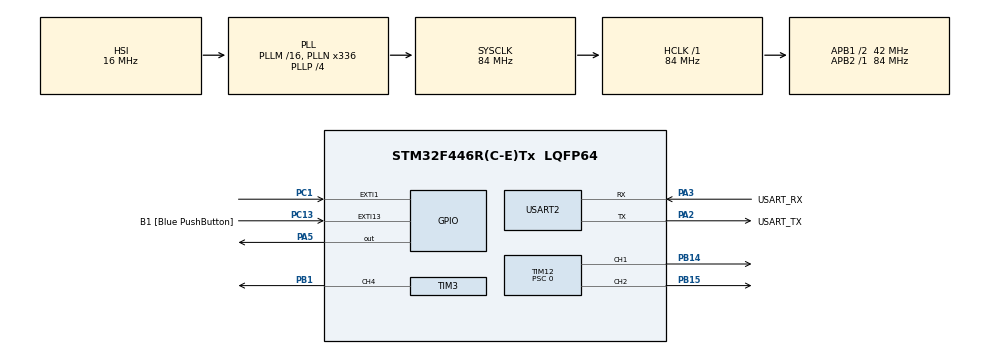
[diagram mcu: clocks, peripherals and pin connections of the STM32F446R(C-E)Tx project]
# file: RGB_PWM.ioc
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Mcu.Family=STM32F4
Mcu.Name=STM32F446R(C-E)Tx
Mcu.Package=LQFP64
NVIC.EXTI1_IRQn=true\:0\:0\:false\:false\:true\:true\:true\:true
NVIC.PriorityGroup=NVIC_PRIORITYGROUP_0
PA13.GPIO_Label=TMS
PA13.Mode=Serial_Wire
PA13.Signal=SYS_JTMS-SWDIO
PA14.GPIO_Label=TCK
PA14.Mode=Serial_Wire
PA14.Signal=SYS_JTCK-SWCLK
PA2.GPIO_Label=USART_TX
PA2.Mode=Asynchronous
PA2.Signal=USART2_TX
PA3.GPIO_Label=USART_RX
PA3.Mode=Asynchronous
PA3.Signal=USART2_RX
PA5.Signal=GPIO_Output
PB1.Signal=S_TIM3_CH4
PB14.Signal=S_TIM12_CH1
PB15.Signal=S_TIM12_CH2
PB3.GPIO_Label=SWO
PB3.Signal=SYS_JTDO-SWO
PC1.GPIO_ModeDefaultEXTI=GPIO_MODE_IT_FALLING
PC1.GPIO_PuPd=GPIO_PULLUP
PC1.Signal=GPXTI1
PC13.GPIO_Label=B1 [Blue PushButton]
PC13.GPIO_ModeDefaultEXTI=GPIO_MODE_IT_FALLING
PC13.GPIO_PuPd=GPIO_PULLUP
PC13.Signal=GPXTI13
PC14-OSC32_IN.Mode=LSE-External-Oscillator
PC14-OSC32_IN.Signal=RCC_OSC32_IN
PC15-OSC32_OUT.Mode=LSE-External-Oscillator
PC15-OSC32_OUT.Signal=RCC_OSC32_OUT
PH0-OSC_IN.Mode=HSE-External-Oscillator
PH0-OSC_IN.Signal=RCC_OSC_IN
PH1-OSC_OUT.Mode=HSE-External-Oscillator
PH1-OSC_OUT.Signal=RCC_OSC_OUT
ProjectManager.HeapSize=0x200
ProjectManager.StackSize=0x400
ProjectManager.TargetToolchain=STM32CubeIDE
RCC.48MHZClocksFreq_Value=84000000
RCC.AHBFreq_Value=84000000
RCC.APB1CLKDivider=RCC_HCLK_DIV2
RCC.APB1Freq_Value=42000000
RCC.APB1TimFreq_Value=84000000
RCC.APB2Freq_Value=84000000
RCC.APB2TimFreq_Value=84000000
RCC.CortexFreq_Value=84000000
RCC.FLatency-AdvancedSettings=FLASH_LATENCY_2
RCC.HCLKFreq_Value=84000000
RCC.HSE_VALUE=8000000
RCC.HSI_VALUE=16000000
RCC.PLLN=336
RCC.PLLP=RCC_PLLP_DIV4
RCC.SYSCLKFreq_VALUE=84000000
RCC.SYSCLKSource=RCC_SYSCLKSOURCE_PLLCLK
RCC.USBFreq_Value=168000000
RCC.VCOOutputFreq_Value=336000000
SH.S_TIM12_CH1.0=TIM12_CH1,PWM Generation1 CH1
SH.S_TIM12_CH2.0=TIM12_CH2,PWM Generation2 CH2
SH.S_TIM3_CH4.0=TIM3_CH4,PWM Generation4 CH4
TIM12.AutoReloadPreload=TIM_AUTORELOAD_PRELOAD_ENABLE
TIM12.Channel-PWM\ Generation1\ CH1=TIM_CHANNEL_1
TIM12.Channel-PWM\ Generation2\ CH2=TIM_CHANNEL_2
TIM12.Period=65535
TIM12.Prescaler=0
TIM12.Pulse-PWM\ Generation1\ CH1=0
TIM12.Pulse-PWM\ Generation2\ CH2=0
TIM2.AutoReloadPreload=TIM_AUTORELOAD_PRELOAD_ENABLE
TIM2.Period=65535
TIM2.Prescaler=0
TIM3.AutoReloadPreload=TIM_AUTORELOAD_PRELOAD_ENABLE
TIM3.Channel-PWM\ Generation4\ CH4=TIM_CHANNEL_4
TIM3.Period=65535
TIM3.Prescaler=0
TIM3.Pulse-PWM\ Generation4\ CH4=0
USART2.VirtualMode=VM_ASYNC
VP_TIM12_VS_ClockSourceINT.Mode=Internal
VP_TIM2_VS_ClockSourceINT.Mode=Internal
VP_TIM3_VS_ClockSourceINT.Mode=Internal
board=NUCLEO-F446RE

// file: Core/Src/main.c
/* USER CODE BEGIN Header */
/**
  ******************************************************************************
  * @file           : main.c
  * @brief          : Main program body
  ******************************************************************************
  * @attention
  *
  * Copyright (c) 2022 STMicroelectronics.
  * All rights reserved.
  *
  * This software is licensed under terms that can be found in the LICENSE file
  * in the root directory of this software component.
  * If no LICENSE file comes with this software, it is provided AS-IS.
  *
  ******************************************************************************
  */
/* USER CODE END Header */
#include "main.h"

TIM_HandleTypeDef htim2;
TIM_HandleTypeDef htim3;
TIM_HandleTypeDef htim12;

UART_HandleTypeDef huart2;

void SystemClock_Config(void);
static void MX_GPIO_Init(void);
static void MX_USART2_UART_Init(void);
static void MX_TIM3_Init(void);
static void MX_TIM12_Init(void);
static void MX_TIM2_Init(void);

int main(void)
{

  /* MCU Configuration--------------------------------------------------------*/

  /* Reset of all peripherals, Initializes the Flash interface and the Systick. */
  HAL_Init();

  /* Configure the system clock */
  SystemClock_Config();

  /* Initialize all configured peripherals */
  MX_GPIO_Init();
  MX_USART2_UART_Init();
  MX_TIM3_Init();
  MX_TIM12_Init();
  MX_TIM2_Init();
  /* USER CODE BEGIN 2 */
  HAL_TIM_PWM_Start(&htim3, TIM_CHANNEL_4);  //B
  HAL_TIM_PWM_Start(&htim12, TIM_CHANNEL_1); //R
  HAL_TIM_PWM_Start(&htim12, TIM_CHANNEL_2); //G
  HAL_TIM_PWM_Start(&htim2, TIM_CHANNEL_1);

  HAL_GPIO_WritePin(GPIOA, GPIO_PIN_5, 1);
//  TIM12->CCR1 = 500;
//  TIM12->CCR2 = 500;
//  TIM3->CCR4 = 500;
  /* USER CODE END 2 */

  /* Infinite loop */
  while (1)
  {

    /* USER CODE BEGIN 3 */
	  int32_t CH1_DC = 0;
	  int32_t R = 0;
	  int32_t G = 0;
	  int32_t B = 0;
//      while(CH1_DC < 65535)
//      {
//          TIM2->CCR1 = CH1_DC;
//          TIM12->CCR1 = R;
//          TIM12->CCR2 = G;
//          TIM3->CCR4 = B;
//          HAL_Delay(1);
//          CH1_DC += 70;
//      }
//      while(CH1_DC > 0)
//      {
//          TIM2->CCR1 = CH1_DC;
//          TIM12->CCR1 = R;
//          TIM12->CCR2 = G;
//          TIM3->CCR4 = B;
//          HAL_Delay(1);
//          CH1_DC -= 70;
//      }
	  int step = 10000;
	  for(B = 0; B < 65535;  B = B + 1000){
		  for(G = 0; G < 65535;  G = G + step){
			  for(R = 0; R < 65535;  R = R + step){
					//TIM2->CCR1 = CH1_DC;
					TIM12->CCR1 = R;
					TIM12->CCR2 = G;
					TIM3->CCR4 = B;
					HAL_Delay(1);
			  }
		  }
	  }
	  //HAL_GPIO_TogglePin(GPIOA, GPIO_PIN_5);
	  //HAL_Delay(100);
  }
  /* USER CODE END 3 */
}

void SystemClock_Config(void)
{
  RCC_OscInitTypeDef RCC_OscInitStruct = {0};
  RCC_ClkInitTypeDef RCC_ClkInitStruct = {0};

  /** Configure the main internal regulator output voltage
  */
  __HAL_RCC_PWR_CLK_ENABLE();
  __HAL_PWR_VOLTAGESCALING_CONFIG(PWR_REGULATOR_VOLTAGE_SCALE3);

  /** Initializes the RCC Oscillators according to the specified parameters
  * in the RCC_OscInitTypeDef structure.
  */
  RCC_OscInitStruct.OscillatorType = RCC_OSCILLATORTYPE_HSI;
  RCC_OscInitStruct.HSIState = RCC_HSI_ON;
  RCC_OscInitStruct.HSICalibrationValue = RCC_HSICALIBRATION_DEFAULT;
  RCC_OscInitStruct.PLL.PLLState = RCC_PLL_ON;
  RCC_OscInitStruct.PLL.PLLSource = RCC_PLLSOURCE_HSI;
  RCC_OscInitStruct.PLL.PLLM = 16;
  RCC_OscInitStruct.PLL.PLLN = 336;
  RCC_OscInitStruct.PLL.PLLP = RCC_PLLP_DIV4;
  RCC_OscInitStruct.PLL.PLLQ = 2;
  RCC_OscInitStruct.PLL.PLLR = 2;
  if (HAL_RCC_OscConfig(&RCC_OscInitStruct) != HAL_OK)
  {
    Error_Handler();
  }

  /** Initializes the CPU, AHB and APB buses clocks
  */
  RCC_ClkInitStruct.ClockType = RCC_CLOCKTYPE_HCLK|RCC_CLOCKTYPE_SYSCLK
                              |RCC_CLOCKTYPE_PCLK1|RCC_CLOCKTYPE_PCLK2;
  RCC_ClkInitStruct.SYSCLKSource = RCC_SYSCLKSOURCE_PLLCLK;
  RCC_ClkInitStruct.AHBCLKDivider = RCC_SYSCLK_DIV1;
  RCC_ClkInitStruct.APB1CLKDivider = RCC_HCLK_DIV2;
  RCC_ClkInitStruct.APB2CLKDivider = RCC_HCLK_DIV1;

  if (HAL_RCC_ClockConfig(&RCC_ClkInitStruct, FLASH_LATENCY_2) != HAL_OK)
  {
    Error_Handler();
  }
}

static void MX_TIM2_Init(void)
{

  TIM_ClockConfigTypeDef sClockSourceConfig = {0};
  TIM_MasterConfigTypeDef sMasterConfig = {0};

  htim2.Instance = TIM2;
  htim2.Init.Prescaler = 0;
  htim2.Init.CounterMode = TIM_COUNTERMODE_UP;
  htim2.Init.Period = 65535;
  htim2.Init.ClockDivision = TIM_CLOCKDIVISION_DIV1;
  htim2.Init.AutoReloadPreload = TIM_AUTORELOAD_PRELOAD_ENABLE;
  if (HAL_TIM_Base_Init(&htim2) != HAL_OK)
  {
    Error_Handler();
  }
  sClockSourceConfig.ClockSource = TIM_CLOCKSOURCE_INTERNAL;
  if (HAL_TIM_ConfigClockSource(&htim2, &sClockSourceConfig) != HAL_OK)
  {
    Error_Handler();
  }
  sMasterConfig.MasterOutputTrigger = TIM_TRGO_RESET;
  sMasterConfig.MasterSlaveMode = TIM_MASTERSLAVEMODE_DISABLE;
  if (HAL_TIMEx_MasterConfigSynchronization(&htim2, &sMasterConfig) != HAL_OK)
  {
    Error_Handler();
  }

}

static void MX_TIM3_Init(void)
{

  TIM_ClockConfigTypeDef sClockSourceConfig = {0};
  TIM_MasterConfigTypeDef sMasterConfig = {0};
  TIM_OC_InitTypeDef sConfigOC = {0};

  htim3.Instance = TIM3;
  htim3.Init.Prescaler = 0;
  htim3.Init.CounterMode = TIM_COUNTERMODE_UP;
  htim3.Init.Period = 65535;
  htim3.Init.ClockDivision = TIM_CLOCKDIVISION_DIV1;
  htim3.Init.AutoReloadPreload = TIM_AUTORELOAD_PRELOAD_ENABLE;
  if (HAL_TIM_Base_Init(&htim3) != HAL_OK)
  {
    Error_Handler();
  }
  sClockSourceConfig.ClockSource = TIM_CLOCKSOURCE_INTERNAL;
  if (HAL_TIM_ConfigClockSource(&htim3, &sClockSourceConfig) != HAL_OK)
  {
    Error_Handler();
  }
  if (HAL_TIM_PWM_Init(&htim3) != HAL_OK)
  {
    Error_Handler();
  }
  sMasterConfig.MasterOutputTrigger = TIM_TRGO_RESET;
  sMasterConfig.MasterSlaveMode = TIM_MASTERSLAVEMODE_DISABLE;
  if (HAL_TIMEx_MasterConfigSynchronization(&htim3, &sMasterConfig) != HAL_OK)
  {
    Error_Handler();
  }
  sConfigOC.OCMode = TIM_OCMODE_PWM1;
  sConfigOC.Pulse = 0;
  sConfigOC.OCPolarity = TIM_OCPOLARITY_HIGH;
  sConfigOC.OCFastMode = TIM_OCFAST_DISABLE;
  if (HAL_TIM_PWM_ConfigChannel(&htim3, &sConfigOC, TIM_CHANNEL_4) != HAL_OK)
  {
    Error_Handler();
  }
  HAL_TIM_MspPostInit(&htim3);

}

static void MX_TIM12_Init(void)
{

  TIM_ClockConfigTypeDef sClockSourceConfig = {0};
  TIM_OC_InitTypeDef sConfigOC = {0};

  htim12.Instance = TIM12;
  htim12.Init.Prescaler = 0;
  htim12.Init.CounterMode = TIM_COUNTERMODE_UP;
  htim12.Init.Period = 65535;
  htim12.Init.ClockDivision = TIM_CLOCKDIVISION_DIV1;
  htim12.Init.AutoReloadPreload = TIM_AUTORELOAD_PRELOAD_ENABLE;
  if (HAL_TIM_Base_Init(&htim12) != HAL_OK)
  {
    Error_Handler();
  }
  sClockSourceConfig.ClockSource = TIM_CLOCKSOURCE_INTERNAL;
  if (HAL_TIM_ConfigClockSource(&htim12, &sClockSourceConfig) != HAL_OK)
  {
    Error_Handler();
  }
  if (HAL_TIM_PWM_Init(&htim12) != HAL_OK)
  {
    Error_Handler();
  }
  sConfigOC.OCMode = TIM_OCMODE_PWM1;
  sConfigOC.Pulse = 0;
  sConfigOC.OCPolarity = TIM_OCPOLARITY_HIGH;
  sConfigOC.OCFastMode = TIM_OCFAST_DISABLE;
  if (HAL_TIM_PWM_ConfigChannel(&htim12, &sConfigOC, TIM_CHANNEL_1) != HAL_OK)
  {
    Error_Handler();
  }
  if (HAL_TIM_PWM_ConfigChannel(&htim12, &sConfigOC, TIM_CHANNEL_2) != HAL_OK)
  {
    Error_Handler();
  }
  HAL_TIM_MspPostInit(&htim12);

}

static void MX_USART2_UART_Init(void)
{

  huart2.Instance = USART2;
  huart2.Init.BaudRate = 115200;
  huart2.Init.WordLength = UART_WORDLENGTH_8B;
  huart2.Init.StopBits = UART_STOPBITS_1;
  huart2.Init.Parity = UART_PARITY_NONE;
  huart2.Init.Mode = UART_MODE_TX_RX;
  huart2.Init.HwFlowCtl = UART_HWCONTROL_NONE;
  huart2.Init.OverSampling = UART_OVERSAMPLING_16;
  if (HAL_UART_Init(&huart2) != HAL_OK)
  {
    Error_Handler();
  }

}

static void MX_GPIO_Init(void)
{
  GPIO_InitTypeDef GPIO_InitStruct = {0};

  /* GPIO Ports Clock Enable */
  __HAL_RCC_GPIOC_CLK_ENABLE();
  __HAL_RCC_GPIOH_CLK_ENABLE();
  __HAL_RCC_GPIOA_CLK_ENABLE();
  __HAL_RCC_GPIOB_CLK_ENABLE();

  /*Configure GPIO pin Output Level */
  HAL_GPIO_WritePin(GPIOA, GPIO_PIN_5, GPIO_PIN_RESET);

  /*Configure GPIO pins : B1_Pin PC1 */
  GPIO_InitStruct.Pin = B1_Pin|GPIO_PIN_1;
  GPIO_InitStruct.Mode = GPIO_MODE_IT_FALLING;
  GPIO_InitStruct.Pull = GPIO_PULLUP;
  HAL_GPIO_Init(GPIOC, &GPIO_InitStruct);

  /*Configure GPIO pin : PA5 */
  GPIO_InitStruct.Pin = GPIO_PIN_5;
  GPIO_InitStruct.Mode = GPIO_MODE_OUTPUT_PP;
  GPIO_InitStruct.Pull = GPIO_NOPULL;
  GPIO_InitStruct.Speed = GPIO_SPEED_FREQ_LOW;
  HAL_GPIO_Init(GPIOA, &GPIO_InitStruct);

  /* EXTI interrupt init*/
  HAL_NVIC_SetPriority(EXTI1_IRQn, 0, 0);
  HAL_NVIC_EnableIRQ(EXTI1_IRQn);

}

/* USER CODE BEGIN 4 */
void HAL_GPIO_EXTI_Callback(uint16_t GPIO_Pin){
	 //if(GPIO_Pin == GPIO_PIN_2){ // If The INT Source Is EXTI Line9 (A9 Pin){
	//	 NVIC_SystemReset(); //System reset
	 //}
	//HAL_GPIO_TogglePin(GPIOA, GPIO_PIN_5);
	NVIC_SystemReset();
}
/* USER CODE END 4 */

void Error_Handler(void)
{
  __disable_irq();
  while (1)
  {
  }
}
